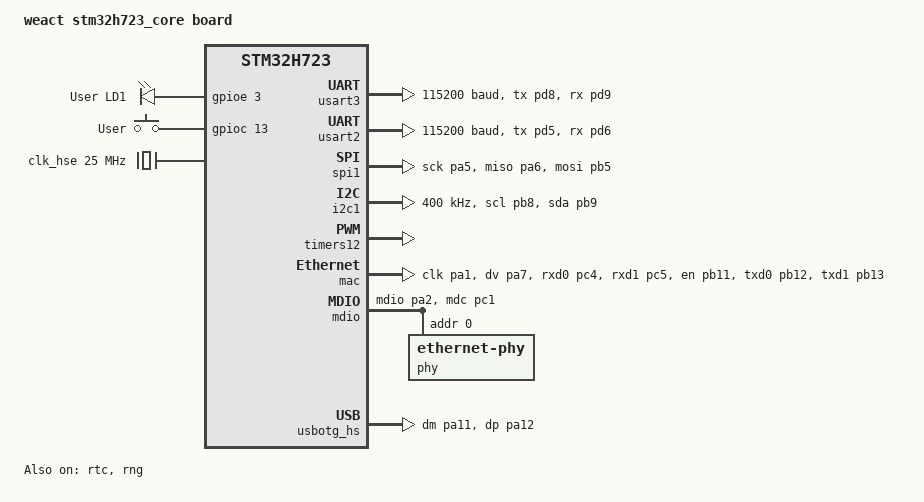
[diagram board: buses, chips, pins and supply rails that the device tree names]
/dts-v1/;
#include <st/h7/stm32h723Xg.dtsi>
#include <st/h7/stm32h723vgtx-pinctrl.dtsi>
#include <zephyr/dt-bindings/input/input-event-codes.h>

/*
 * WARNING:
 * JP6 and SB72 must be ON when using Ethernet.
 */

/ {
	model = "weact stm32h723_core board";
	compatible = "weact,stm32h723_core";

	chosen {
		zephyr,console = &usart3;
		zephyr,shell-uart = &usart3;
		zephyr,dtcm = &dtcm;
		zephyr,sram = &sram0;
		zephyr,flash = &flash0;
	};

	leds: leds {
		compatible = "gpio-leds";
		blue_led: led_0 {
			gpios = <&gpioe 3 GPIO_ACTIVE_HIGH>;
			label = "User LD1";
		};
	};

	gpio_keys {
		compatible = "gpio-keys";
		user_button: button_0 {
			label = "User";
			gpios = <&gpioc 13 GPIO_ACTIVE_HIGH>;
			zephyr,code = <INPUT_KEY_0>;
		};
	};

	aliases {
		led0 = &blue_led;
		sw0 = &user_button;
	};
};

&clk_lsi {
	status = "okay";
};

&clk_hsi48 {
	status = "okay";
};

&clk_hse {
	clock-frequency = <DT_FREQ_M(25)>; /* STLink 25MHz clock */
	status = "okay";
};

&clk_lse {
	status = "okay";
};

&pll {
	div-m = <2>;
	mul-n = <44>;
	div-p = <1>;
	div-q = <2>;
	div-r = <2>;
	clocks = <&clk_hse>;
	status = "okay";
};

&rcc {
	clocks = <&pll>;
	clock-frequency = <DT_FREQ_M(550)>;
	d1cpre = <1>;
	hpre = <2>;    /* HCLK: 275   MHz */
	d1ppre = <2>;  /* APB1: 137.5 MHz */
	d2ppre1 = <2>; /* APB2: 137.5 MHz */
	d2ppre2 = <2>; /* APB3: 137.5 MHz */
	d3ppre = <2>;  /* APB4: 137.5 MHz */
};

&usart3 {
	pinctrl-0 = <&usart3_tx_pd8 &usart3_rx_pd9>;
	pinctrl-names = "default";
	current-speed = <115200>;
	status = "okay";
};

&usart2 {
	pinctrl-0 = <&usart2_tx_pd5 &usart2_rx_pd6>;
	pinctrl-names = "default";
	current-speed = <115200>;
	status = "okay";
};

&rtc {
	clocks = <&rcc STM32_CLOCK_BUS_APB4 0x00010000>,
		 <&rcc STM32_SRC_LSI RTC_SEL(2)>;
	status = "okay";
};

&spi1 {
	status = "okay";
	pinctrl-0 = <&spi1_sck_pa5 &spi1_miso_pa6 &spi1_mosi_pb5>;
	pinctrl-names = "default";
	cs-gpios = <&gpiod 14 (GPIO_ACTIVE_LOW | GPIO_PULL_UP)>;
};

&i2c1 {
	pinctrl-0 = <&i2c1_scl_pb8 &i2c1_sda_pb9>;
	pinctrl-names = "default";
	status = "okay";
	clock-frequency = <I2C_BITRATE_FAST>;
};

&backup_sram {
	status = "okay";
};

&timers12 {
	st,prescaler = <10000>;
	status = "okay";

	pwm12: pwm {
		status = "okay";
		pinctrl-0 = <&tim12_ch1_pb14>;
		pinctrl-names = "default";
	};
};

&mac {
	status = "okay";
	pinctrl-0 = <&eth_ref_clk_pa1
		     &eth_crs_dv_pa7
		     &eth_rxd0_pc4
		     &eth_rxd1_pc5
		     &eth_tx_en_pb11
		     &eth_txd0_pb12
		     &eth_txd1_pb13>;
	pinctrl-names = "default";
};

&mdio {
	status = "okay";
	pinctrl-0 = <&eth_mdio_pa2 &eth_mdc_pc1>;
	pinctrl-names = "default";

	phy: ethernet-phy@0 {
		compatible = "ethernet-phy";
		reg = <0>;
		status = "okay";
	};
};

zephyr_udc0: &usbotg_hs {
	pinctrl-0 = <&usb_otg_hs_dm_pa11 &usb_otg_hs_dp_pa12>;
	pinctrl-names = "default";
	status = "okay";
};

&rng {
	status = "okay";
};
